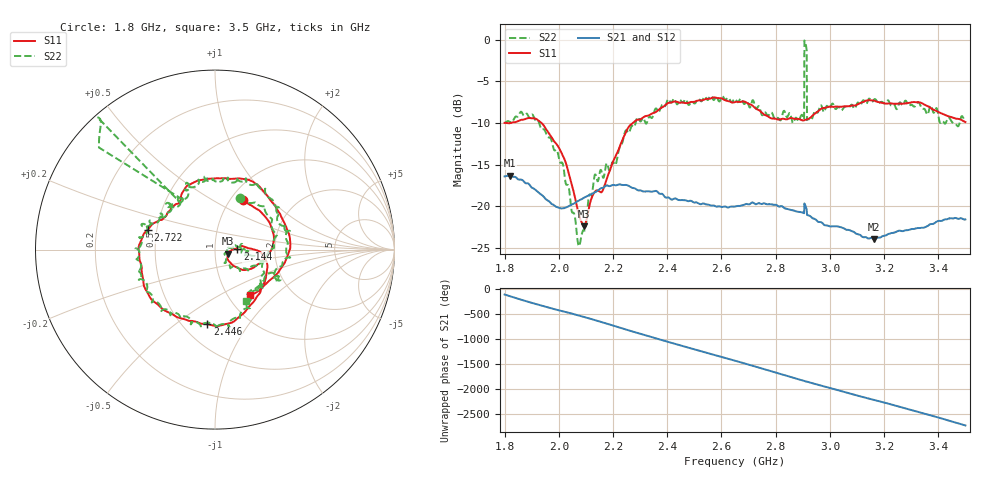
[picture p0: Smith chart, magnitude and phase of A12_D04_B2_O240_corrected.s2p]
! Created with skrf 1.9.0 (http://scikit-rf.org).
# Hz S RI R 50.0
!freq ReS11 ImS11 ReS21 ImS21 ReS12 ImS12 ReS22 ImS22
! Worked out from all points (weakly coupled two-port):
!   1601 points, 1.8 GHz to 3.5 GHz, reference 50 ohm
!   highest |S21| = -16.33 dB at 1.82 GHz (marker M1); lowest = -23.9 dB at 3.163 GHz (marker M2)
!   lowest |S11| = -22.4 dB at 2.093 GHz (marker M3), VSWR 1.16, Z = 57.7 - j2.71 ohm
!   |S11| at or under -10 dB: 1.805 GHz to 1.824 GHz (18.33 MHz wide, 1.01 % of centre); 1.936 GHz to 2.274 GHz (337.5 MHz wide, 16 % of centre)
!   |S22| runs from -24.8 to -0.1 dB; largest |S21 - S12| = 0.0024
!   S11 on the Smith chart (normalised r, x): 1.8 GHz: 1.13, +0.70; 2.144 GHz: 1.28, +0.00; 2.446 GHz: 0.65, -0.66; 2.722 GHz: 0.44, +0.12; 3.5 GHz: 1.26, -0.71
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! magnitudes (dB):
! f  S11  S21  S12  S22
! 1.8 GHz  -10.0  -16.4  -16.4  -9.9
! 1.82 GHz  -10.0  -16.3  -16.4  -9.9
! 1.903 GHz  -9.4  -17.8  -17.8  -9.0
! 1.968 GHz  -11.5  -19.5  -19.6  -11.8
! 2.023 GHz  -14.5  -20.2  -20.2  -16.8
! 2.084 GHz  -21.9  -19.2  -19.1  -23.4
! 2.093 GHz  -22.4  -19.0  -19.0  -22.8
! 2.144 GHz  -18.1  -18.1  -18.1  -17.0
! 2.259 GHz  -10.4  -17.6  -17.6  -11.2
! 2.367 GHz  -8.4  -18.4  -18.3  -8.6
! 2.446 GHz  -7.6  -19.3  -19.2  -7.2
! 2.65 GHz  -7.5  -20.0  -20.0  -7.1
! 2.722 GHz  -8.2  -19.7  -19.6  -7.8
! 2.886 GHz  -9.5  -20.7  -20.7  -9.7
! 2.897 GHz  -9.7  -20.7  -20.7  -9.0
! 2.906 GHz  -9.7  -19.7  -19.6  -0.1
! 2.915 GHz  -9.6  -20.4  -20.4  -1.3
! 2.924 GHz  -9.5  -21.1  -21.1  -9.6
! 2.934 GHz  -9.2  -21.4  -21.3  -9.6
! 3.163 GHz  -7.3  -23.9  -23.9  -7.2
! 3.217 GHz  -7.7  -23.3  -23.3  -7.4
! 3.5 GHz  -9.9  -21.6  -21.5  -9.5
